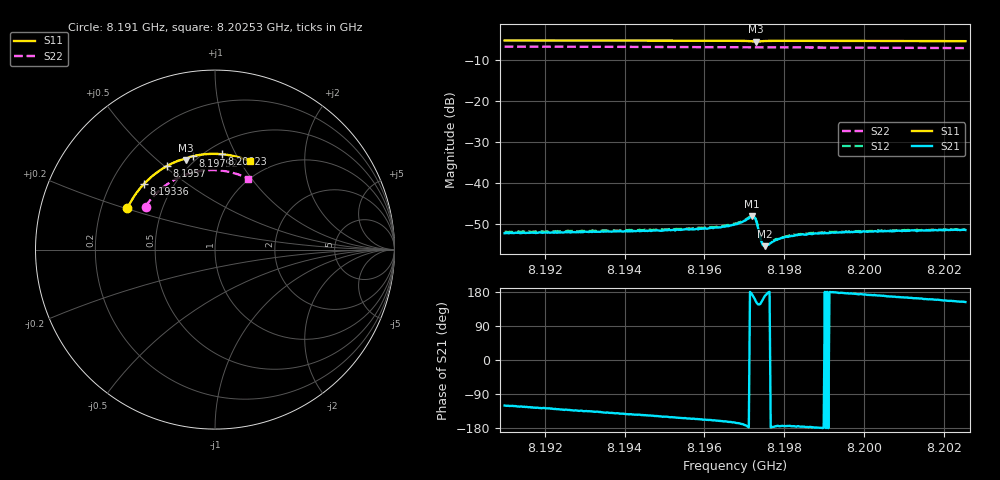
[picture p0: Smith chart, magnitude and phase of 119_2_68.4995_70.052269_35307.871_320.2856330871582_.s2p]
#  HZ  S  RI  R  50.00
! Rohde & Schwarz Vector Network Analyzer
! Rohde-Schwarz,ZNB20-2Port,1311601062101988,3.16
! Created: UTC 3/20/2024, 5:09:02 PM
! freq[Hz]  re:S11  im:S11  re:S21  im:S21  re:S12  im:S12  re:S22  im:S22
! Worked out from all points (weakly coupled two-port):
!   401 points, 8.191 GHz to 8.20253 GHz, reference 50 ohm
!   highest |S21| = -48.19 dB at 8.1972 GHz (marker M1); lowest = -55.5 dB at 8.19752 GHz (marker M2)
!   lowest |S11| = -5.6 dB at 8.19728 GHz (marker M3), VSWR 3.19, Z = 22.8 + j31.2 ohm
!   |S11| at or under -10 dB: nowhere
!   |S22| runs from -7.2 to -6.8 dB; largest |S21 - S12| = 0.0002
!   S11 on the Smith chart (normalised r, x): 8.191 GHz: 0.31, +0.20; 8.19336 GHz: 0.34, +0.35; 8.1957 GHz: 0.39, +0.51; 8.19792 GHz: 0.47, +0.68; 8.20023 GHz: 0.59, +0.88; 8.20253 GHz: 0.81, +1.11
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8.190998e9  -0.4893 0.2291  -0.00122 -0.0021  -0.00131 -0.00216  -0.3868 0.2401
8.19293e9  -0.4161 0.3432  -0.00174 -0.00181  -0.00187 -0.00182  -0.3177 0.3226
8.193362e9  -0.3959 0.3657  -0.00186 -0.00171  -0.00197 -0.00169  -0.2997 0.3387
8.194862e9  -0.3163 0.4351  -0.00223 -0.00136  -0.00232 -0.00131  -0.2309 0.3864
8.195698e9  -0.2662 0.4667  -0.00245 -0.00114  -0.00256 -0.00107  -0.1888 0.4071
8.196362e9  -0.2236 0.4876  -0.0027 -0.000945  -0.00282 -0.000891  -0.1539 0.4203
8.196765e9  -0.1958 0.4983  -0.00301 -0.000798  -0.00311 -0.000679  -0.1322 0.427
8.197198e9  -0.1619 0.5014  -0.00386 0.000534  -0.00389 0.000684  -0.1085 0.4327
8.197256e9  -0.1596 0.4985  -0.0036 0.00118  -0.00362 0.00137  -0.1054 0.4335
8.197284e9  -0.1598 0.4973  -0.00323 0.00148  -0.00322 0.00165  -0.1038 0.4336
8.197313e9  -0.1607 0.4973  -0.00278 0.00158  -0.0028 0.00176  -0.1023 0.4339
8.197429e9  -0.1596 0.5041  -0.00171 0.000857  -0.00172 0.000922  -0.0961 0.4353
8.197457e9  -0.1582 0.506  -0.00163 0.000641  -0.00164 0.000732  -0.0946 0.4355
8.197515e9  -0.1542 0.5092  -0.00166 0.000308  -0.00169 0.000419  -0.0913 0.4363
8.197573e9  -0.15 0.5115  -0.00175 0.000123  -0.00176 0.000193  -0.0881 0.4368
8.197746e9  -0.1369 0.5166  -0.00195 -0.000126  -0.002 -8.54e-05  -0.0782 0.4384
8.197919e9  -0.1243 0.5201  -0.00211 -0.000219  -0.00214 -0.000147  -0.0688 0.4398
8.198178e9  -0.1056 0.5242  -0.00224 -0.000201  -0.00226 -0.000119  -0.054 0.4413
8.198697e9  -0.0688 0.53  -0.00236 -0.000111  -0.00241 1.8e-05  -0.0245 0.4431
8.200226e9  0.0395 0.5314  -0.00251 0.000404  -0.0025 0.000544  0.0619 0.4366
8.20063e9  0.0679 0.528  -0.0025 0.000559  -0.00253 0.000677  0.0845 0.4318
8.202533e9  0.1971 0.4918  -0.00237 0.00121  -0.00237 0.0013  0.1865 0.3945
